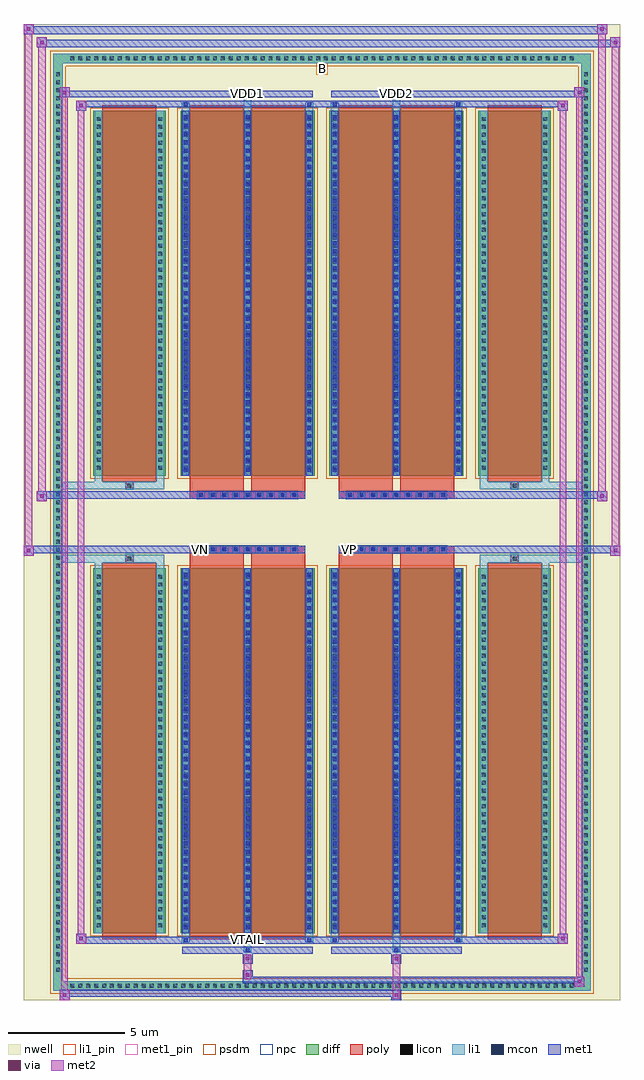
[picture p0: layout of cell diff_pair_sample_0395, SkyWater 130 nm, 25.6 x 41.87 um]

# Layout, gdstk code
import gdstk
lib = gdstk.Library(unit=1e-6, precision=5e-09)
def R(c, l, rs):  # rectangles x0, y0, x1, y1
    for r in rs: c.add(gdstk.rectangle(r[:2], r[2:], *l))
def A(c, l, x, y, w, h, nx, ny, dx, dy):  # array of equal rectangles
    R(c, l, [(x+i*dx, y+j*dy, x+i*dx+w, y+j*dy+h) for i in range(nx) for j in range(ny)])
def P(c, l, *ps):  # polygons
    for p in ps: c.add(gdstk.Polygon(p, *l))
nwell = (64, 20)
diff = (65, 20)
poly = (66, 20)
licon = (66, 44)
li1_pin = (67, 16)
li1 = (67, 20)
mcon = (67, 44)
met1_pin = (68, 16)
met1 = (68, 20)
via = (68, 44)
met2 = (69, 20)
psdm = (94, 20)
npc = (95, 20)

diff_pair_sample_0395 = lib.new_cell('diff_pair_sample_0395')
R(diff_pair_sample_0395, nwell, [(-12.8,-20.5,12.8,21.37), (-10.12,-18.69,-0.01,-0.805), (0.01,-18.69,10.12,-0.805), (-10.12,0.805,-0.01,18.69), (0.01,0.805,10.12,18.69)])
A(diff_pair_sample_0395, diff, -10.915, -20.1, 0.41, 0.41, 64, 2, 0.34, 39.79)
A(diff_pair_sample_0395, diff, -11.53, -19.415, 0.41, 0.41, 1, 114, 0, 0.34)
A(diff_pair_sample_0395, diff, 11.12, -19.415, 0.41, 0.41, 1, 114, 0, 0.34)
R(diff_pair_sample_0395, diff, [(-10.915,-20.1,10.915,-19.69), (-11.53,-19.415,-11.12,19.415), (11.12,-19.415,11.53,19.415), (-9.81,-17.645,-6.71,-1.985), (-6.07,-17.645,-0.32,-1.985), (0.32,-17.645,6.07,-1.985), (6.71,-17.645,9.81,-1.985), (-9.81,1.985,-6.71,17.645), (-6.07,1.985,-0.32,17.645), (0.32,1.985,6.07,17.645), (6.71,1.985,9.81,17.645), (-10.915,19.69,10.915,20.1)])
P(diff_pair_sample_0395, diff, [(11.53,20.1),(-11.53,20.1),(-11.53,-19.69),(-11.12,-19.69),(-11.12,19.69),(11.12,19.69),(11.12,-19.69),(-11.12,-19.69),(-11.53,-19.69),(-11.53,-20.1),(11.53,-20.1)])
A(diff_pair_sample_0395, poly, -5.36, -1.335, 0.33, 0.33, 9, 2, 0.5, 2.34)
A(diff_pair_sample_0395, poly, 1.03, -1.335, 0.33, 0.33, 9, 2, 0.5, 2.34)
R(diff_pair_sample_0395, poly, [(-9.42,-17.895,-7.1,-1.735), (-5.68,-17.895,-3.36,-1.735), (-3.03,-17.895,-0.71,-1.735), (0.71,-17.895,3.03,-1.735), (3.36,-17.895,5.68,-1.735), (7.1,-17.895,9.42,-1.735), (-8.425,-1.735,-8.095,-1.405), (-8.425,-1.735,-8.095,-1.405), (-5.68,-1.735,-3.36,-1.335), (-3.03,-1.735,-0.71,-1.335), (0.71,-1.735,3.03,-1.335), (3.36,-1.735,5.68,-1.335), (8.095,-1.735,8.425,-1.405), (8.095,-1.735,8.425,-1.405), (-5.68,-1.335,-0.71,-1.005), (0.71,-1.335,5.68,-1.005), (-5.68,1.005,-0.71,1.335), (0.71,1.005,5.68,1.335), (-5.68,1.335,-3.36,1.735), (-3.03,1.335,-0.71,1.735), (0.71,1.335,3.03,1.735), (3.36,1.335,5.68,1.735), (-8.425,1.405,-8.095,1.735), (-8.425,1.405,-8.095,1.735), (8.095,1.405,8.425,1.735), (8.095,1.405,8.425,1.735), (-9.42,1.735,-7.1,17.895), (-5.68,1.735,-3.36,17.895), (-3.03,1.735,-0.71,17.895), (0.71,1.735,3.03,17.895), (3.36,1.735,5.68,17.895), (7.1,1.735,9.42,17.895)])
A(diff_pair_sample_0395, licon, -10.795, -19.98, 0.17, 0.17, 64, 2, 0.34, 39.79)
A(diff_pair_sample_0395, licon, -11.41, -19.295, 0.17, 0.17, 1, 114, 0, 0.34)
A(diff_pair_sample_0395, licon, 11.24, -19.295, 0.17, 0.17, 1, 114, 0, 0.34)
A(diff_pair_sample_0395, licon, -9.67, -17.38, 0.17, 0.17, 1, 45, 0, 0.34)
A(diff_pair_sample_0395, licon, -7.02, -17.38, 0.17, 0.17, 1, 45, 0, 0.34)
A(diff_pair_sample_0395, licon, -5.93, -17.38, 0.17, 0.17, 3, 45, 2.65, 0.34)
A(diff_pair_sample_0395, licon, 0.46, -17.38, 0.17, 0.17, 3, 45, 2.65, 0.34)
A(diff_pair_sample_0395, licon, 6.85, -17.38, 0.17, 0.17, 1, 45, 0, 0.34)
A(diff_pair_sample_0395, licon, 9.5, -17.38, 0.17, 0.17, 1, 45, 0, 0.34)
A(diff_pair_sample_0395, licon, -5.28, -1.255, 0.17, 0.17, 9, 2, 0.5, 2.34)
A(diff_pair_sample_0395, licon, 1.11, -1.255, 0.17, 0.17, 9, 2, 0.5, 2.34)
A(diff_pair_sample_0395, licon, -9.67, 2.25, 0.17, 0.17, 1, 45, 0, 0.34)
A(diff_pair_sample_0395, licon, -7.02, 2.25, 0.17, 0.17, 1, 45, 0, 0.34)
A(diff_pair_sample_0395, licon, -5.93, 2.25, 0.17, 0.17, 3, 45, 2.65, 0.34)
A(diff_pair_sample_0395, licon, 0.46, 2.25, 0.17, 0.17, 3, 45, 2.65, 0.34)
A(diff_pair_sample_0395, licon, 6.85, 2.25, 0.17, 0.17, 1, 45, 0, 0.34)
A(diff_pair_sample_0395, licon, 9.5, 2.25, 0.17, 0.17, 1, 45, 0, 0.34)
R(diff_pair_sample_0395, licon, [(-8.345,-1.655,-8.175,-1.485), (8.175,-1.655,8.345,-1.485), (-8.345,1.485,-8.175,1.655), (8.175,1.485,8.345,1.655)])
R(diff_pair_sample_0395, li1_pin, [(-0.25,19.19,0.25,19.69)])
A(diff_pair_sample_0395, li1, -10.875, -20.06, 0.33, 0.33, 64, 2, 0.34, 39.79)
A(diff_pair_sample_0395, li1, -11.49, -19.375, 0.33, 0.33, 1, 114, 0, 0.34)
A(diff_pair_sample_0395, li1, 11.16, -19.375, 0.33, 0.33, 1, 114, 0, 0.34)
A(diff_pair_sample_0395, li1, -6.01, -17.645, 0.33, 15.66, 3, 2, 2.65, 19.63)
A(diff_pair_sample_0395, li1, 0.38, -17.645, 0.33, 15.66, 3, 2, 2.65, 19.63)
A(diff_pair_sample_0395, li1, -9.75, -17.46, 0.33, 0.33, 1, 45, 0, 0.34)
A(diff_pair_sample_0395, li1, -7.1, -17.46, 0.33, 0.33, 1, 45, 0, 0.34)
A(diff_pair_sample_0395, li1, -6.01, -17.46, 0.33, 0.33, 3, 45, 2.65, 0.34)
A(diff_pair_sample_0395, li1, -5.93, -17.46, 0.17, 0.17, 3, 43, 2.65, 0.36)
A(diff_pair_sample_0395, li1, -5.93, -17.46, 0.17, 15.29, 3, 2, 2.65, 19.63)
A(diff_pair_sample_0395, li1, 0.38, -17.46, 0.33, 0.33, 3, 45, 2.65, 0.34)
A(diff_pair_sample_0395, li1, 0.46, -17.46, 0.17, 0.17, 3, 43, 2.65, 0.36)
A(diff_pair_sample_0395, li1, 0.46, -17.46, 0.17, 15.29, 3, 2, 2.65, 19.63)
A(diff_pair_sample_0395, li1, 6.77, -17.46, 0.33, 0.33, 1, 45, 0, 0.34)
A(diff_pair_sample_0395, li1, 9.42, -17.46, 0.33, 0.33, 1, 45, 0, 0.34)
A(diff_pair_sample_0395, li1, -5.36, -1.335, 0.33, 0.33, 9, 2, 0.5, 2.34)
A(diff_pair_sample_0395, li1, 1.03, -1.335, 0.33, 0.33, 9, 2, 0.5, 2.34)
A(diff_pair_sample_0395, li1, -9.75, 2.17, 0.33, 0.33, 1, 45, 0, 0.34)
A(diff_pair_sample_0395, li1, -7.1, 2.17, 0.33, 0.33, 1, 45, 0, 0.34)
A(diff_pair_sample_0395, li1, -6.01, 2.17, 0.33, 0.33, 3, 45, 2.65, 0.34)
A(diff_pair_sample_0395, li1, -5.93, 2.17, 0.17, 0.17, 3, 43, 2.65, 0.36)
A(diff_pair_sample_0395, li1, 0.38, 2.17, 0.33, 0.33, 3, 45, 2.65, 0.34)
A(diff_pair_sample_0395, li1, 0.46, 2.17, 0.17, 0.17, 3, 43, 2.65, 0.36)
A(diff_pair_sample_0395, li1, 6.77, 2.17, 0.33, 0.33, 1, 45, 0, 0.34)
A(diff_pair_sample_0395, li1, 9.42, 2.17, 0.33, 0.33, 1, 45, 0, 0.34)
R(diff_pair_sample_0395, li1, [(-11.53,-20.1,-11.12,-19.69), (-11.53,-20.1,-11.12,-19.69), (-11.12,-20.1,11.12,-19.69), (11.12,-20.1,11.53,-19.69), (11.12,-20.1,11.53,-19.69), (-11.53,-19.69,-11.12,19.69), (11.12,-19.69,11.53,19.69), (-3.36,-18.45,-3.03,-17.645), (-3.28,-18.45,-3.11,-18.28), (3.03,-18.45,3.36,-17.645), (3.11,-18.45,3.28,-18.28), (-6.01,-18.02,-5.68,-17.645), (-5.93,-18.02,-5.76,-17.85), (-0.71,-18.02,-0.38,-17.645), (-0.63,-18.02,-0.46,-17.85), (0.38,-18.02,0.71,-17.645), (0.46,-18.02,0.63,-17.85), (5.68,-18.02,6.01,-17.645), (5.76,-18.02,5.93,-17.85), (-9.75,-17.645,-9.42,-1.985), (-7.1,-17.645,-6.77,-1.985), (6.77,-17.645,7.1,-1.985), (9.42,-17.645,9.75,-1.985), (-9.75,-1.985,-9.42,-1.405), (-7.1,-1.985,-6.77,-1.405), (6.77,-1.985,7.1,-1.405), (9.42,-1.985,9.75,-1.405), (-11.53,-1.735,-8.425,-1.405), (-9.75,-1.735,-8.425,-1.405), (-8.425,-1.735,-8.095,-1.405), (-8.095,-1.735,-6.77,-1.405), (6.77,-1.735,8.095,-1.405), (8.095,-1.735,8.425,-1.405), (8.095,-1.735,11.53,-1.405), (8.425,-1.735,9.75,-1.405), (-11.53,1.405,-8.425,1.735), (-9.75,1.405,-8.425,1.735), (-9.75,1.405,-9.42,1.985), (-8.425,1.405,-8.095,1.735), (-8.095,1.405,-6.77,1.735), (-7.1,1.405,-6.77,1.985), (6.77,1.405,8.095,1.735), (6.77,1.405,7.1,1.985), (8.095,1.405,8.425,1.735), (8.095,1.405,11.53,1.735), (8.425,1.405,9.75,1.735), (9.42,1.405,9.75,1.985), (-9.75,1.985,-9.42,17.645), (-7.1,1.985,-6.77,17.645), (6.77,1.985,7.1,17.645), (9.42,1.985,9.75,17.645), (-6.01,17.645,-5.68,18.02), (-3.36,17.645,-3.03,18.45), (-0.71,17.645,-0.38,18.02), (0.38,17.645,0.71,18.02), (3.03,17.645,3.36,18.45), (5.68,17.645,6.01,18.02), (-5.93,17.85,-5.76,18.02), (-0.63,17.85,-0.46,18.02), (0.46,17.85,0.63,18.02), (5.76,17.85,5.93,18.02), (-3.28,18.28,-3.11,18.45), (3.11,18.28,3.28,18.45), (-11.53,19.69,-11.12,20.1), (-11.53,19.69,-11.12,20.1), (-11.12,19.69,11.12,20.1), (11.12,19.69,11.53,20.1), (11.12,19.69,11.53,20.1)])
A(diff_pair_sample_0395, mcon, -5.93, -17.46, 0.17, 0.17, 3, 43, 2.65, 0.36)
A(diff_pair_sample_0395, mcon, 0.46, -17.46, 0.17, 0.17, 3, 43, 2.65, 0.36)
A(diff_pair_sample_0395, mcon, -5.28, -1.255, 0.17, 0.17, 9, 2, 0.5, 2.34)
A(diff_pair_sample_0395, mcon, 1.11, -1.255, 0.17, 0.17, 9, 2, 0.5, 2.34)
A(diff_pair_sample_0395, mcon, -5.93, 2.17, 0.17, 0.17, 3, 43, 2.65, 0.36)
A(diff_pair_sample_0395, mcon, 0.46, 2.17, 0.17, 0.17, 3, 43, 2.65, 0.36)
R(diff_pair_sample_0395, mcon, [(-3.28,-18.45,-3.11,-18.28), (3.11,-18.45,3.28,-18.28), (-5.93,-18.02,-5.76,-17.85), (-0.63,-18.02,-0.46,-17.85), (0.46,-18.02,0.63,-17.85), (5.76,-18.02,5.93,-17.85), (-5.93,17.85,-5.76,18.02), (-0.63,17.85,-0.46,18.02), (0.46,17.85,0.63,18.02), (5.76,17.85,5.93,18.02), (-3.28,18.28,-3.11,18.45), (3.11,18.28,3.28,18.45)])
R(diff_pair_sample_0395, met1_pin, [(-3.33,-18.06,-3.06,-17.79), (-5.33,-1.295,-5.06,-1.025), (1.06,-1.295,1.33,-1.025), (-3.33,18.24,-3.06,18.51), (3.06,18.24,3.33,18.51)])
A(diff_pair_sample_0395, met1, -5.99, -17.645, 0.29, 15.66, 3, 2, 2.65, 19.63)
A(diff_pair_sample_0395, met1, 0.4, -17.645, 0.29, 15.66, 3, 2, 2.65, 19.63)
A(diff_pair_sample_0395, met1, -5.99, -17.52, 0.29, 0.29, 3, 43, 2.65, 0.36)
A(diff_pair_sample_0395, met1, 0.4, -17.52, 0.29, 0.29, 3, 43, 2.65, 0.36)
A(diff_pair_sample_0395, met1, -5.34, -1.315, 0.29, 0.29, 9, 2, 0.5, 2.34)
A(diff_pair_sample_0395, met1, 1.05, -1.315, 0.29, 0.29, 9, 2, 0.5, 2.34)
A(diff_pair_sample_0395, met1, -5.99, 2.11, 0.29, 0.29, 3, 43, 2.65, 0.36)
A(diff_pair_sample_0395, met1, 0.4, 2.11, 0.29, 0.29, 3, 43, 2.65, 0.36)
R(diff_pair_sample_0395, met1, [(-11.26,-20.5,-10.83,-20.07), (2.98,-20.5,3.41,-20.07), (-11.26,-20.36,3.41,-20.07), (10.83,-19.93,11.26,-19.5), (-3.41,-19.79,11.26,-19.5), (-3.41,-19.65,-2.98,-19.22), (-3.41,-18.94,-2.98,-18.51), (2.98,-18.94,3.41,-18.51), (-5.99,-18.51,-0.4,-18.22), (-3.34,-18.51,-3.05,-18.22), (0.4,-18.51,5.99,-18.22), (3.05,-18.51,3.34,-18.22), (-10.55,-18.08,-10.12,-17.65), (-10.55,-18.08,-5.99,-17.79), (-5.99,-18.08,-5.7,-17.79), (-5.99,-18.08,-0.4,-17.79), (-0.69,-18.08,-0.4,-17.79), (-0.4,-18.08,0.4,-17.79), (0.4,-18.08,0.69,-17.79), (0.4,-18.08,5.99,-17.79), (5.7,-18.08,5.99,-17.79), (5.99,-18.08,10.55,-17.79), (10.12,-18.08,10.55,-17.65), (-12.8,-1.435,-12.37,-1.005), (12.37,-1.435,12.8,-1.005), (-12.8,-1.335,-0.71,-1.005), (-5.68,-1.335,-0.71,-1.005), (0.71,-1.335,5.68,-1.005), (0.71,-1.335,12.8,-1.005), (-12.23,0.905,-11.8,1.335), (11.8,0.905,12.23,1.335), (-12.23,1.005,-5.68,1.335), (-5.68,1.005,-0.71,1.335), (0.71,1.005,5.68,1.335), (5.68,1.005,12.23,1.335), (-10.55,17.65,-10.12,18.08), (10.12,17.65,10.55,18.08), (-10.55,17.79,-5.99,18.08), (-5.99,17.79,-5.7,18.08), (-5.99,17.79,-0.4,18.08), (-0.69,17.79,-0.4,18.08), (-0.4,17.79,0.4,18.08), (0.4,17.79,0.69,18.08), (0.4,17.79,5.99,18.08), (5.7,17.79,5.99,18.08), (5.99,17.79,10.55,18.08), (-11.26,18.22,-10.83,18.65), (-11.26,18.22,-5.99,18.51), (-5.99,18.22,-0.4,18.51), (-3.34,18.22,-3.05,18.51), (0.4,18.22,5.99,18.51), (3.05,18.22,3.34,18.51), (5.99,18.22,11.26,18.51), (10.83,18.22,11.26,18.65), (-12.23,20.37,-11.8,20.8), (-12.23,20.37,-10.12,20.7), (-10.12,20.37,10.12,20.7), (10.12,20.37,12.8,20.7), (12.37,20.37,12.8,20.8), (-12.8,20.94,-12.37,21.37), (-12.8,20.94,-10.12,21.27), (-10.12,20.94,10.12,21.27), (10.12,20.94,12.23,21.27), (11.8,20.94,12.23,21.37)])
R(diff_pair_sample_0395, via, [(-11.12,-20.36,-10.97,-20.21), (3.12,-20.36,3.27,-20.21), (10.97,-19.79,11.12,-19.64), (-3.27,-19.51,-3.12,-19.36), (-3.27,-18.8,-3.12,-18.65), (3.12,-18.8,3.27,-18.65), (-10.41,-17.94,-10.26,-17.79), (10.26,-17.94,10.41,-17.79), (-12.66,-1.295,-12.51,-1.145), (12.51,-1.295,12.66,-1.145), (-12.09,1.045,-11.94,1.195), (11.94,1.045,12.09,1.195), (-10.41,17.79,-10.26,17.94), (10.26,17.79,10.41,17.94), (-11.12,18.36,-10.97,18.51), (10.97,18.36,11.12,18.51), (-12.09,20.51,-11.94,20.66), (12.51,20.51,12.66,20.66), (-12.66,21.08,-12.51,21.23), (11.94,21.08,12.09,21.23)])
R(diff_pair_sample_0395, met2, [(-11.26,-20.5,-10.83,-20.07), (-11.19,-20.5,-10.9,18.65), (-10.9,-20.5,-10.83,-20.07), (-11.21,-20.45,-10.88,-20.12), (3.03,-20.45,3.36,-20.12), (3.03,-20.12,3.36,-18.89), (10.83,-19.93,11.26,-19.5), (10.9,-19.93,11.19,18.65), (11.19,-19.93,11.26,-19.5), (10.88,-19.88,11.21,-19.55), (-3.36,-19.6,-3.03,-19.27), (-3.36,-19.27,-3.03,-18.89), (-3.36,-18.89,-3.03,-18.56), (3.03,-18.89,3.36,-18.56), (-10.55,-18.08,-10.12,-17.65), (-10.48,-18.08,-10.19,18.08), (-10.19,-18.08,-10.12,-17.65), (10.12,-18.08,10.55,-17.65), (10.19,-18.08,10.48,18.08), (10.48,-18.08,10.55,-17.65), (-10.5,-18.03,-10.17,-17.7), (10.17,-18.03,10.5,-17.7), (-12.8,-1.435,-12.37,-1.005), (-12.75,-1.435,-12.42,21.37), (-12.42,-1.435,-12.37,-1.005), (12.37,-1.435,12.8,-1.005), (12.42,-1.435,12.75,20.8), (12.75,-1.435,12.8,-1.005), (-12.75,-1.385,-12.42,-1.055), (12.42,-1.385,12.75,-1.055), (-12.23,0.905,-11.8,1.335), (-12.18,0.905,-11.85,20.8), (-11.85,0.905,-11.8,1.335), (11.8,0.905,12.23,1.335), (11.85,0.905,12.18,21.37), (12.18,0.905,12.23,1.335), (-12.18,0.955,-11.85,1.285), (11.85,0.955,12.18,1.285), (-10.55,17.65,-10.12,18.08), (-10.19,17.65,-10.12,18.08), (10.12,17.65,10.55,18.08), (10.48,17.65,10.55,18.08), (-10.5,17.7,-10.17,18.03), (10.17,17.7,10.5,18.03), (-11.26,18.22,-10.83,18.65), (-10.9,18.22,-10.83,18.65), (10.83,18.22,11.26,18.65), (11.19,18.22,11.26,18.65), (-11.21,18.27,-10.88,18.6), (10.88,18.27,11.21,18.6), (-12.23,20.37,-11.8,20.8), (-11.85,20.37,-11.8,20.8), (12.37,20.37,12.8,20.8), (12.75,20.37,12.8,20.8), (-12.18,20.42,-11.85,20.75), (12.42,20.42,12.75,20.75), (-12.8,20.94,-12.37,21.37), (-12.42,20.94,-12.37,21.37), (11.8,20.94,12.23,21.37), (12.18,20.94,12.23,21.37), (-12.75,20.99,-12.42,21.32), (11.85,20.99,12.18,21.32)])
R(diff_pair_sample_0395, psdm, [(-9.94,-17.775,-6.58,-1.855), (-6.2,-17.775,-0.19,-1.855), (0.19,-17.775,6.2,-1.855), (6.58,-17.775,9.94,-1.855), (-9.94,1.855,-6.58,17.775), (-6.2,1.855,-0.19,17.775), (0.19,1.855,6.2,17.775), (6.58,1.855,9.94,17.775)])
P(diff_pair_sample_0395, psdm, [(11.66,20.23),(-11.66,20.23),(-11.66,-19.56),(-10.99,-19.56),(-10.99,19.56),(10.99,19.56),(10.99,-19.56),(-10.99,-19.56),(-11.66,-19.56),(-11.66,-20.23),(11.66,-20.23)])
A(diff_pair_sample_0395, npc, -5.38, -1.355, 0.37, 0.37, 9, 2, 0.5, 2.34)
A(diff_pair_sample_0395, npc, 1.01, -1.355, 0.37, 0.37, 9, 2, 0.5, 2.34)
R(diff_pair_sample_0395, npc, [(-8.445,-1.755,-8.075,-1.385), (8.075,-1.755,8.445,-1.385), (-5.38,-1.355,-4.51,-0.985), (-5.38,-1.355,-4.51,-0.985), (-4.88,-1.355,-4.01,-0.985), (-4.88,-1.355,-4.01,-0.985), (-4.38,-1.355,-3.51,-0.985), (-4.38,-1.355,-3.51,-0.985), (-3.88,-1.355,-3.01,-0.985), (-3.88,-1.355,-3.01,-0.985), (-3.38,-1.355,-2.51,-0.985), (-3.38,-1.355,-2.51,-0.985), (-2.88,-1.355,-2.01,-0.985), (-2.88,-1.355,-2.01,-0.985), (-2.38,-1.355,-1.51,-0.985), (-2.38,-1.355,-1.51,-0.985), (-1.88,-1.355,-1.01,-0.985), (-1.88,-1.355,-1.01,-0.985), (1.01,-1.355,1.88,-0.985), (1.01,-1.355,1.88,-0.985), (1.51,-1.355,2.38,-0.985), (1.51,-1.355,2.38,-0.985), (2.01,-1.355,2.88,-0.985), (2.01,-1.355,2.88,-0.985), (2.51,-1.355,3.38,-0.985), (2.51,-1.355,3.38,-0.985), (3.01,-1.355,3.88,-0.985), (3.01,-1.355,3.88,-0.985), (3.51,-1.355,4.38,-0.985), (3.51,-1.355,4.38,-0.985), (4.01,-1.355,4.88,-0.985), (4.01,-1.355,4.88,-0.985), (4.51,-1.355,5.38,-0.985), (4.51,-1.355,5.38,-0.985), (-5.38,0.985,-4.51,1.355), (-5.38,0.985,-4.51,1.355), (-4.88,0.985,-4.01,1.355), (-4.88,0.985,-4.01,1.355), (-4.38,0.985,-3.51,1.355), (-4.38,0.985,-3.51,1.355), (-3.88,0.985,-3.01,1.355), (-3.88,0.985,-3.01,1.355), (-3.38,0.985,-2.51,1.355), (-3.38,0.985,-2.51,1.355), (-2.88,0.985,-2.01,1.355), (-2.88,0.985,-2.01,1.355), (-2.38,0.985,-1.51,1.355), (-2.38,0.985,-1.51,1.355), (-1.88,0.985,-1.01,1.355), (-1.88,0.985,-1.01,1.355), (1.01,0.985,1.88,1.355), (1.01,0.985,1.88,1.355), (1.51,0.985,2.38,1.355), (1.51,0.985,2.38,1.355), (2.01,0.985,2.88,1.355), (2.01,0.985,2.88,1.355), (2.51,0.985,3.38,1.355), (2.51,0.985,3.38,1.355), (3.01,0.985,3.88,1.355), (3.01,0.985,3.88,1.355), (3.51,0.985,4.38,1.355), (3.51,0.985,4.38,1.355), (4.01,0.985,4.88,1.355), (4.01,0.985,4.88,1.355), (4.51,0.985,5.38,1.355), (4.51,0.985,5.38,1.355), (-8.445,1.385,-8.075,1.755), (8.075,1.385,8.445,1.755)])
diff_pair_sample_0395.add(gdstk.Label('VTAIL', (-3.195,-17.925), layer=68, texttype=5))
diff_pair_sample_0395.add(gdstk.Label('VN', (-5.195,-1.16), layer=68, texttype=5))
diff_pair_sample_0395.add(gdstk.Label('VP', (1.195,-1.16), layer=68, texttype=5))
diff_pair_sample_0395.add(gdstk.Label('B', (0,19.44), layer=67, texttype=5))
diff_pair_sample_0395.add(gdstk.Label('VDD2', (3.195,18.375), layer=68, texttype=5))
diff_pair_sample_0395.add(gdstk.Label('VDD1', (-3.195,18.375), layer=68, texttype=5))

lib.write_gds('diff_pair_sample_0395.gds')
